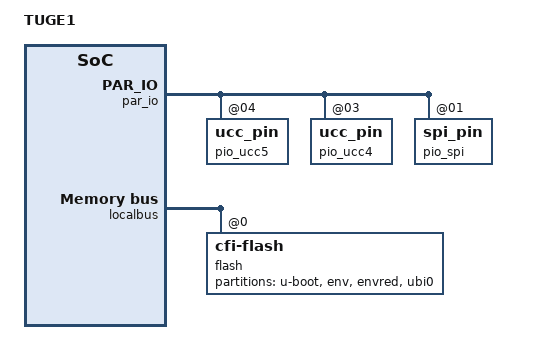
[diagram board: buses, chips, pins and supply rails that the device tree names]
// SPDX-License-Identifier: GPL-2.0+
/*
 * Hitachi Power Grids TUGE1 Device Tree Source
 *
 * Copyright (C) 2020 Heiko Schocher <hs@denx.de>
 *
 */

/dts-v1/;

#include "km8321.dtsi"

/ {
	model = "TUGE1";
	compatible = "hitachi,kmpbec8321";
	#address-cells = <1>;
	#size-cells = <1>;

	aliases {
		ethernet0 = &enet_piggy2;
		serial0 = &serial0;
	};
};

&par_io {
	/* UCC5 as HDLC controller for ICN */
	pio_ucc5: ucc_pin@04 {
		pio-map = <
			/* port  pin  dir  open_drain  assignment  has_irq */
			2   0  1  0  2  0   /* TxD0 */
			2   8  2  0  2  0   /* RxD0 */
			2  29  2  0  2  0   /* CTS */
			3  30  2  0  1  0   /* ICN CLK */
			>;
	};

	/* UCC4 Piggy Ethernet */
	pio_ucc4: ucc_pin@03 {
		pio-map = <
			/* port pin dir open_drain assignment has_irq */
			3   4  3  0  2  0	/* MDIO */
			3   5  1  0  2  0	/* MDC  */

			1 18  1  0  1  0	/* TxD0 */
			1 19  1  0  1  0	/* TxD1 */
			1 22  2  0  1  0	/* RxD0 */
			1 23  2  0  1  0	/* RxD1 */
			1 26  2  0  1  0	/* RX_ER */
			1 28  2  0  1  0	/* RX_DV */
			1 30  1  0  1  0	/* TX_EN */
			1 31  2  0  1  0	/* CRS */
			3  10  2  0  3  0 /* UCC4_RMII_CLK (CLK17) */
		>;
	};

	pio_spi: spi_pin@01 {
		pio-map = <
			/*
			 *port pin dir open_drain assignment has_irq
			 * SPI_MOSI (PD0, bi, f3)
			 */
			3  0  3  0  1  0
			/* SPI_MISO (PD1, bi, f3) */
			3  1  3  0  1  0
			/* SPI_CLK  (PD2, bi, f3) */
			3  2  3  0  1  0
		>;
	};
};

&localbus {
	ranges = <0 0 0xf0000000 0x04000000     /* LB 0 Flash (boot) */
		  1 0 0xe8000000 0x01000000     /* LB 1 PRIO1 and Piggy */
		  2 0 0xa0000000 0x10000000>;   /* LB 2 PAXI */

	flash@0,0 {
		compatible = "cfi-flash";
		reg = <0 0x00000000 0x04000000>;
		bank-width = <2>;
		#address-cells = <1>;
		#size-cells = <1>;

		partition@0 { /* 768KB */
			label = "u-boot";
			reg = <0 0xC0000>;
		};
		partition@c0000 { /* 128KB */
			label = "env";
			reg = <0xc0000 0x20000>;
		};
		partition@e0000 { /* 128KB */
			label = "envred";
			reg = <0xe0000 0x20000>;
		};
		partition@100000 { /* 64512KB */
			label = "ubi0";
			reg = <0x100000 0x3F00000>;
		};
	};
};
